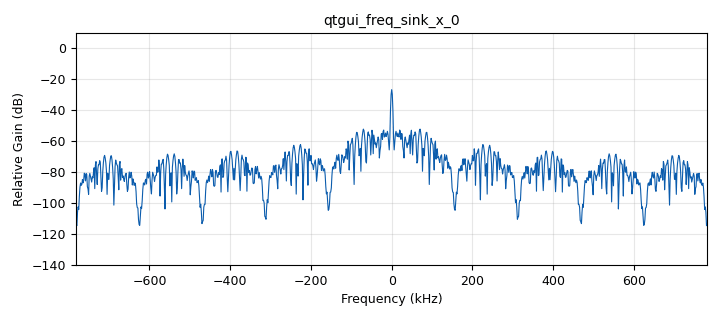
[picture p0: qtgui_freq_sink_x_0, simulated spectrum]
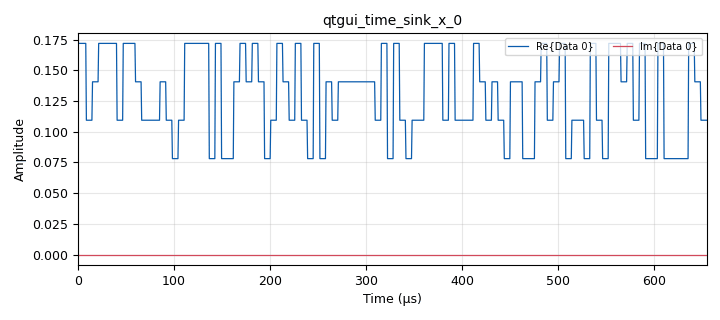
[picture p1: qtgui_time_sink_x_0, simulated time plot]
options:
  parameters:
    generate_options: qt_gui
    id: uis
    output_language: python
    title: modulador de amplitud
  states: {}

blocks:
- name: Ac
  id: variable_qtgui_range
  parameters:
    label: amplitud de portadora
    start: '0'
    step: '1e-3'
    stop: '1'
    value: '125e-3'
  states: {}
- name: Am
  id: variable_qtgui_range
  parameters:
    label: Amplitud del mensaje
    start: '0'
    step: '100e-3'
    stop: '4'
    value: '1'
  states: {}
- name: B
  id: variable_qtgui_range
  parameters:
    label: cambio de banda
    start: '10'
    step: '2'
    stop: '10'
    value: '10'
  states: {state: disabled}
- name: B
  id: variable_qtgui_range
  parameters:
    label: '#muestras por simbolo'
    rangeType: int
    start: '1'
    step: '1'
    stop: '20'
    value: '10'
  states: {}
- name: GTX
  id: variable_qtgui_range
  parameters:
    label: ganancia del transmisor
    start: '0'
    step: '1'
    stop: '30'
    value: '0'
  states: {}
- name: fc
  id: variable_qtgui_range
  parameters:
    label: frecuencia de portadora
    start: 50e6
    step: 1e6
    stop: 2.2e9
    value: 50e6
  states: {}
- name: fm
  id: variable_qtgui_range
  parameters:
    label: frecuencia del mensaje
    start: '300'
    step: '100'
    stop: samp_rate/4
    value: 1e3
  states: {}
- name: ka
  id: variable_qtgui_range
  parameters:
    start: '0'
    step: '0.1'
    stop: '5'
    value: '1'
  states: {}
- name: n
  id: variable
  parameters:
    value: '2'
  states: {}
- name: samp_rate
  id: variable
  parameters:
    value: 1.5625e6
  states: {}
- name: Ac_1
  id: parameter
  parameters:
    label: amplitud de portadora
    type: eng_float
    value: '1'
  states: {state: disabled}
- name: analog_random_source_x_0
  id: analog_random_source_x
  parameters:
    max: int(math.pow(2,n))
    min: '0'
    num_samps: '1000'
    repeat: 'True'
    type: byte
  states: {}
- name: analog_sig_source_x_0
  id: analog_sig_source_x
  parameters:
    amp: Am
    freq: fm
    offset: '0'
    phase: '0'
    samp_rate: samp_rate
    type: float
    waveform: analog.GR_SIN_WAVE
  states: {state: disabled}
- name: blocks_add_const_vxx_0
  id: blocks_add_const_vxx
  parameters:
    const: '1'
    type: float
  states: {}
- name: blocks_add_const_vxx_1
  id: blocks_add_const_vxx
  parameters:
    const: '-(math.pow(2,n)-1)/2'
    type: float
  states: {}
- name: blocks_float_to_complex_0
  id: blocks_float_to_complex
  parameters: {}
  states: {}
- name: blocks_multiply_const_vxx_0
  id: blocks_multiply_const_vxx
  parameters:
    const: ka
    type: float
  states: {}
- name: blocks_multiply_const_vxx_1
  id: blocks_multiply_const_vxx
  parameters:
    const: Ac
    type: complex
  states: {}
- name: blocks_multiply_const_vxx_2
  id: blocks_multiply_const_vxx
  parameters:
    const: 1/math.pow(2,n)
    type: float
  states: {}
- name: blocks_null_source_0
  id: blocks_null_source
  parameters:
    type: float
  states: {}
- name: blocks_repeat_0
  id: blocks_repeat
  parameters:
    interp: B
    type: float
  states: {}
- name: blocks_uchar_to_float_0
  id: blocks_uchar_to_float
  parameters: {}
  states: {}
- name: import_0
  id: import
  parameters:
    imports: import math
  states: {}
- name: qtgui_freq_sink_x_0
  id: qtgui_freq_sink_x
  parameters:
    bw: samp_rate
    fc: '0'
    fftsize: '1024'
    type: complex
  states: {}
- name: qtgui_time_sink_x_0
  id: qtgui_time_sink_x
  parameters:
    autoscale: 'True'
    size: '1024'
    srate: samp_rate
    type: complex
  states: {}
- name: uhd_usrp_sink_0
  id: uhd_usrp_sink
  parameters:
    ant0: '"TX/RX"'
    center_freq0: 50e6
    gain0: '0'
    samp_rate: samp_rate
    sync: pc_clock
    type: fc32
  states: {}
- name: virtual_sink_0
  id: virtual_sink
  parameters:
    stream_id: m_t
  states: {}
- name: virtual_source_0
  id: virtual_source
  parameters:
    stream_id: m_t
  states: {}

connections:
- [analog_random_source_x_0, '0', blocks_uchar_to_float_0, '0']
- [analog_sig_source_x_0, '0', blocks_multiply_const_vxx_0, '0']
- [blocks_add_const_vxx_0, '0', blocks_float_to_complex_0, '0']
- [blocks_add_const_vxx_1, '0', blocks_multiply_const_vxx_2, '0']
- [blocks_float_to_complex_0, '0', blocks_multiply_const_vxx_1, '0']
- [blocks_multiply_const_vxx_0, '0', blocks_add_const_vxx_0, '0']
- [blocks_multiply_const_vxx_1, '0', qtgui_freq_sink_x_0, '0']
- [blocks_multiply_const_vxx_1, '0', qtgui_time_sink_x_0, '0']
- [blocks_multiply_const_vxx_1, '0', uhd_usrp_sink_0, '0']
- [blocks_multiply_const_vxx_2, '0', virtual_sink_0, '0']
- [blocks_null_source_0, '0', blocks_float_to_complex_0, '1']
- [blocks_repeat_0, '0', blocks_add_const_vxx_1, '0']
- [blocks_uchar_to_float_0, '0', blocks_repeat_0, '0']
- [virtual_source_0, '0', blocks_multiply_const_vxx_0, '0']

metadata:
  file_format: 1
  grc_version: v3.11.0.0git-810-g1ecb8565
